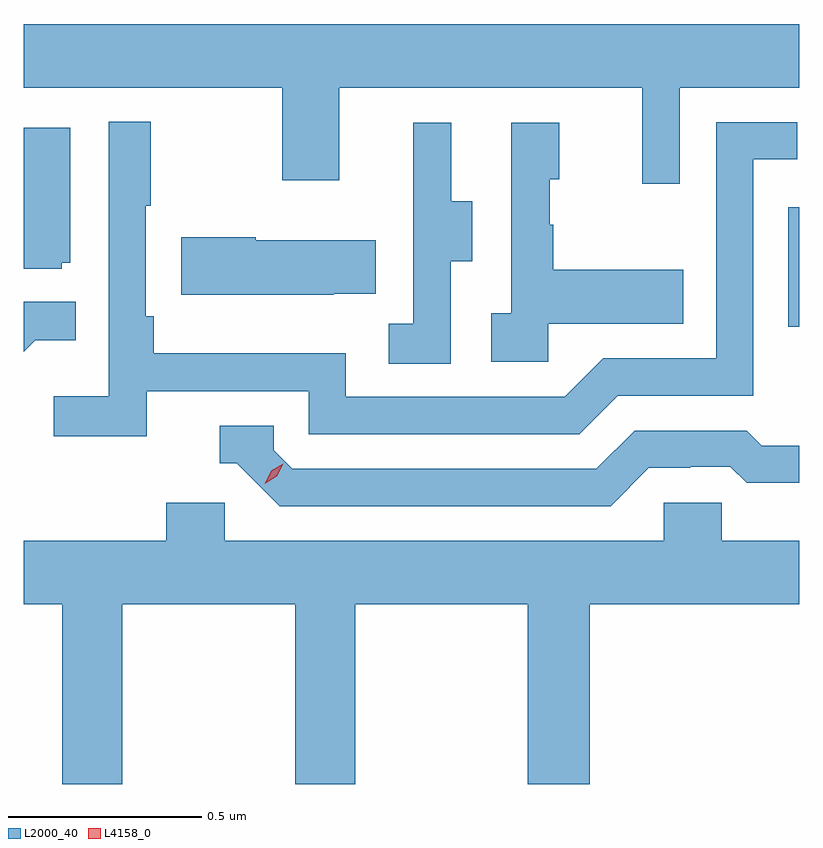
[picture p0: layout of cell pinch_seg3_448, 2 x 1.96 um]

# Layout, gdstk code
import gdstk
lib = gdstk.Library(unit=1e-6, precision=1e-09)
def R(c, l, rs):  # rectangles x0, y0, x1, y1
    for r in rs: c.add(gdstk.rectangle(r[:2], r[2:], *l))
def P(c, l, *ps):  # polygons
    for p in ps: c.add(gdstk.Polygon(p, *l))
L2000_40 = (2000, 40)
L4158_0 = (4158, 0)

pinch_seg3_448 = lib.new_cell('pinch_seg3_448')
R(pinch_seg3_448, L2000_40, [(951.678,677.655,951.707,677.964)])
P(pinch_seg3_448, L2000_40, [(951.399,678.272),(951.707,678.272),(951.707,678.436),(949.707,678.436),(949.707,678.272),(950.374,678.272),(950.374,678.033),(950.521,678.033),(950.521,678.272),(951.302,678.272),(951.302,678.024),(951.399,678.024)],
  [(950.024,677.49),(950.442,677.49),(950.442,677.379),(951.139,677.379),(951.238,677.478),(951.588,677.478),(951.588,678.087),(951.701,678.087),(951.701,678.183),(951.492,678.183),(951.492,677.574),(951.201,677.574),(951.102,677.475),(950.538,677.475),(950.538,677.587),(950.042,677.587),(950.042,677.683),(950.022,677.683),(950.022,677.968),(950.035,677.968),(950.035,678.184),(949.926,678.184),(949.926,677.476),(949.785,677.476),(949.785,677.374),(950.024,677.374)],
  [(951.06,677.663),(951.407,677.663),(951.407,677.803),(951.073,677.803),(951.073,677.918),(951.063,677.918),(951.063,678.036),(951.088,678.036),(951.088,678.181),(950.964,678.181),(950.964,677.69),(950.913,677.69),(950.913,677.565),(951.06,677.565)],
  [(950.808,677.824),(950.863,677.824),(950.863,677.979),(950.809,677.979),(950.809,678.181),(950.711,678.181),(950.711,677.967),(950.712,677.967),(950.712,677.663),(950.649,677.663),(950.649,677.56),(950.808,677.56)],
  [(949.806,677.82),(949.828,677.82),(949.828,678.169),(949.707,678.169),(949.707,677.805),(949.806,677.805)],
  [(950.507,677.741),(950.615,677.741),(950.615,677.878),(950.305,677.878),(950.305,677.886),(950.114,677.886),(950.114,677.738),(950.507,677.738)],
  [(949.737,677.621),(949.841,677.621),(949.841,677.72),(949.707,677.72),(949.707,677.591)],
  [(951.319,677.292),(951.426,677.292),(951.426,677.295),(951.529,677.295),(951.571,677.253),(951.707,677.253),(951.707,677.349),(951.61,677.349),(951.571,677.388),(951.282,677.388),(951.183,677.289),(950.4,677.289),(950.352,677.337),(950.352,677.4),(950.213,677.4),(950.213,677.304),(950.256,677.304),(950.367,677.193),(951.22,677.193)],
  [(949.962,676.94),(950.407,676.94),(950.407,676.477),(950.562,676.477),(950.562,676.94),(951.007,676.94),(951.007,676.477),(951.167,676.477),(951.167,676.94),(951.707,676.94),(951.707,677.104),(951.507,677.104),(951.507,677.202),(951.357,677.202),(951.357,677.104),(950.226,677.104),(950.226,677.202),(950.075,677.202),(950.075,677.104),(949.707,677.104),(949.707,676.94),(949.807,676.94),(949.807,676.477),(949.962,676.477)])
P(pinch_seg3_448, L4158_0, [(950.329,677.251),(950.329,677.251),(950.345,677.284),(950.376,677.303),(950.376,677.303),(950.376,677.302),(950.36,677.27),(950.329,677.251)])

lib.write_gds('pinch_seg3_448.gds')
